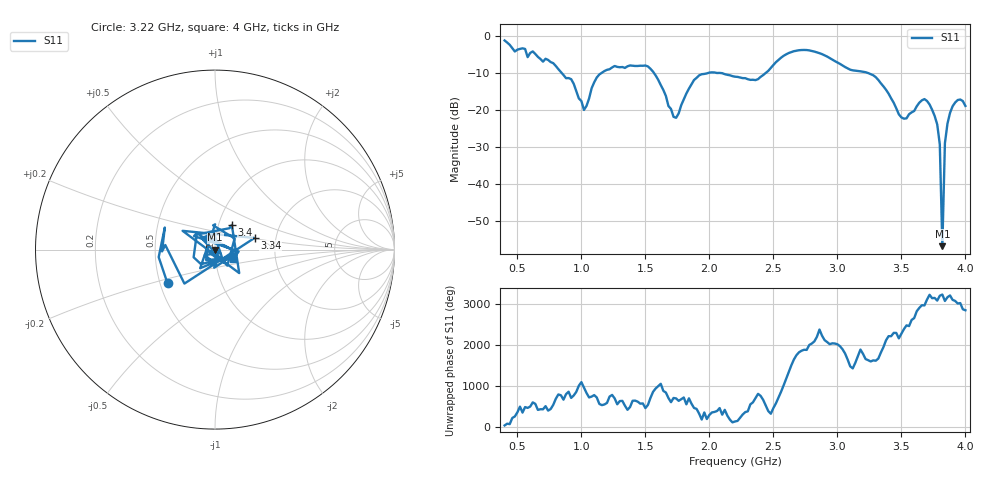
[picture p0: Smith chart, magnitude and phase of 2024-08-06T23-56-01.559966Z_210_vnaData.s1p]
!Created with skrf (http://scikit-rf.org).
# Hz S RI R 50.0
!freq ReS11 ImS11
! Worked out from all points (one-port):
!   181 points, 400 MHz to 4 GHz, reference 50 ohm
!   lowest |S11| = -56.8 dB at 3.82 GHz (marker M1), VSWR 1.00, Z = 50.1 - j0.00901 ohm
!   |S11| at or under -10 dB: 1.567 GHz to 1.989 GHz (421.5 MHz wide, 23.7 % of centre); 2.09 GHz to 2.439 GHz (349.3 MHz wide, 15.4 % of centre); 3.24 GHz to end of sweep (the widest 3 of 4)
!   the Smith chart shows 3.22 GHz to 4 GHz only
!   S11 on the Smith chart (normalised r, x): 3.22 GHz: 0.55, -0.23; 3.34 GHz: 1.55, +0.21; 3.4 GHz: 1.16, +0.33; 4 GHz: 1.21, -0.13
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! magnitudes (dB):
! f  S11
! 400 MHz  -1.2
! 860 MHz  -10.5
! 920 MHz  -11.7
! 1.02 GHz  -20.0
! 1.12 GHz  -11.2
! 1.3 GHz  -8.4
! 1.52 GHz  -8.2
! 1.6 GHz  -11.8
! 1.72 GHz  -21.8
! 1.76 GHz  -20.9
! 1.92 GHz  -10.6
! 2.2 GHz  -11.0
! 2.38 GHz  -11.6
! 2.66 GHz  -4.1
! 3.1 GHz  -9.1
! 3.22 GHz  -9.8
! 3.34 GHz  -12.8
! 3.4 GHz  -15.6
! 3.5 GHz  -22.0
! 3.56 GHz  -21.1
! 3.68 GHz  -17.0
! 3.78 GHz  -23.9
! 3.8 GHz  -29.2
! 3.82 GHz  -56.8
! 3.84 GHz  -28.9
! 3.86 GHz  -23.7
! 3.92 GHz  -18.0
! 4 GHz  -18.9
